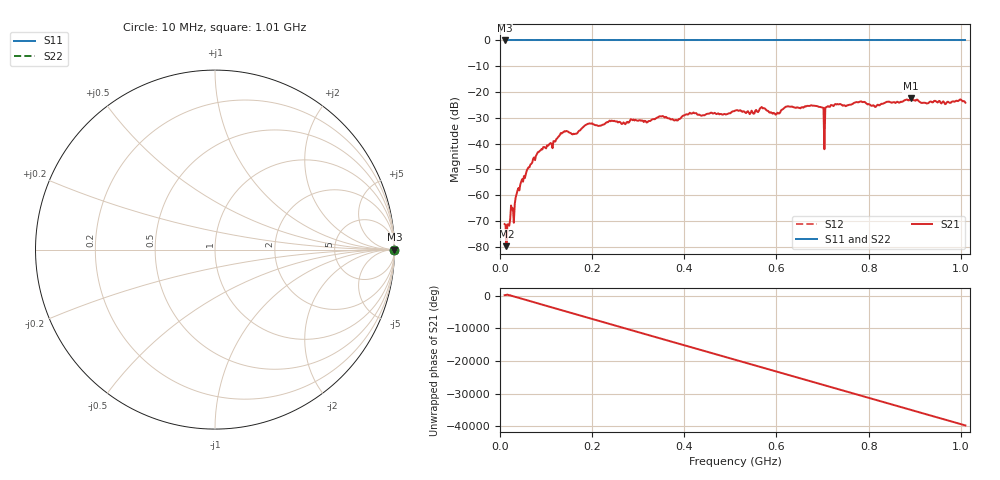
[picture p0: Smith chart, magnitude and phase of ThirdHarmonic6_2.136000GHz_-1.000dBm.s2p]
! 8/17/2025 1:31:22 AM
! C:\ANRITSUVNA\TEMP\TEMP.S2P
! CHANNEL.1
! TR.MEASUREMENT
! RAW.DATA
! RF.CORRECTION.OFF
! AVERAGING.OFF
! IF.BANDWIDTH: 5KHZ
! SWEEPTYPE:  FREQ.SWEEP(Linear)
! Reference Plane Port Info
! PORT:  PORT1  PORT2
! DISTANCE:  0  m  0  m
! TIME:  0  s  0  s
! PHASE.OFFSET:  0  deg.  0  deg.
! LOSS:  0  dB  0  dB
! REF.LOSS:  0  dB  0  dB
! REF.FREQ:  0  Hz  0  Hz
! Power Info
! POWER:  -20  dBm  -20  dBm
! EFF.POWER:  -20  dBm  -20  dBm
! SOURCE.ATTEN:  0  dB  0  dB
! TEST.ATTEN:  0  dB  0  dB
# GHZ S RI R 50.0
! FREQ.GHZ  S11RE  S11IM  S21RE  S21IM  S12RE  S12IM  S22RE  S22IM
!; PortSelection: Port_12
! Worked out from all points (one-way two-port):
!   501 points, 10 MHz to 1.01 GHz, reference 50 ohm
!   highest |S21| = -22.38 dB at 892 MHz (marker M1); lowest = -79.8 dB at 14 MHz (marker M2)
!   lowest |S11| = 0.0 dB at 10 MHz (marker M3)
!   |S11| at or under -10 dB: nowhere
!   |S22| runs from 0.0 to 0.0 dB; largest |S21 - S12| = 1.1
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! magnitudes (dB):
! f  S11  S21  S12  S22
! 10 MHz  0.0  -71.2  0.0  0.0
! 14 MHz  0.0  -79.8  0.0  0.0
! 18 MHz  0.0  -71.4  0.0  0.0
! 20 MHz  0.0  -71.9  0.0  0.0
! 44 MHz  0.0  -56.0  0.0  0.0
! 82 MHz  0.0  -43.4  0.0  0.0
! 136 MHz  0.0  -35.8  0.0  0.0
! 178 MHz  0.0  -34.0  0.0  0.0
! 344 MHz  0.0  -29.7  0.0  0.0
! 510 MHz  0.0  -27.2  0.0  0.0
! 602 MHz  0.0  -28.0  0.0  0.0
! 622 MHz  0.0  -25.7  0.0  0.0
! 678 MHz  0.0  -25.3  0.0  0.0
! 698 MHz  0.0  -26.0  0.0  0.0
! 700 MHz  0.0  -26.1  0.0  0.0
! 704 MHz  0.0  -42.2  0.0  0.0
! 708 MHz  0.0  -25.9  0.0  0.0
! 710 MHz  0.0  -25.7  0.0  0.0
! 730 MHz  0.0  -24.8  0.0  0.0
! 844 MHz  0.0  -23.7  0.0  0.0
! 892 MHz  0.0  -22.4  0.0  0.0
! 1.01 GHz  0.0  -24.2  0.0  0.0
